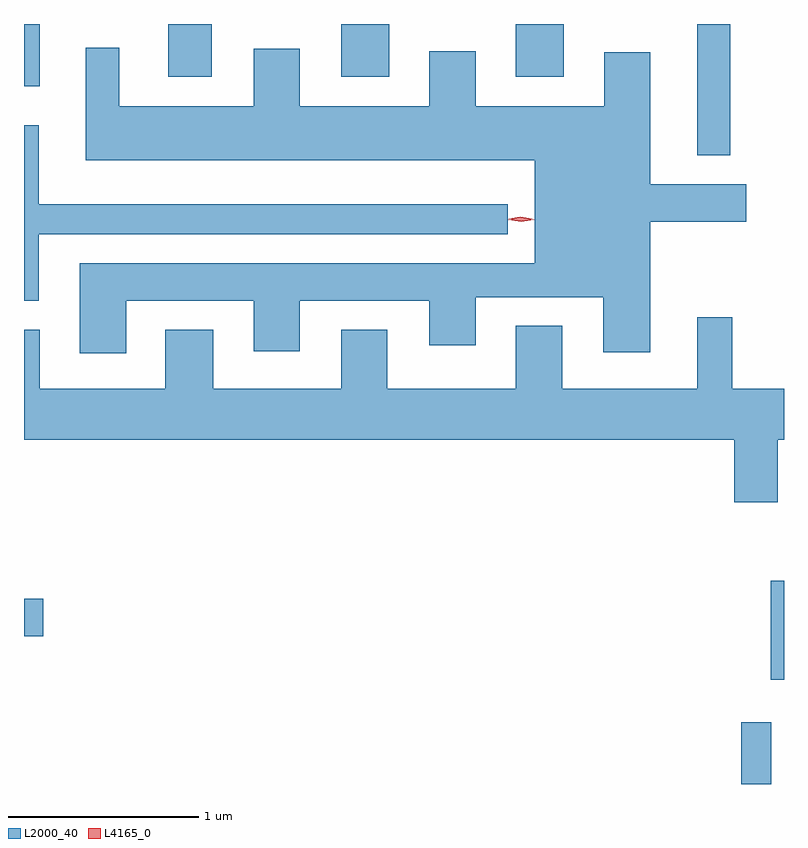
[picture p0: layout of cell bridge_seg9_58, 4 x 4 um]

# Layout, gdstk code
import gdstk
lib = gdstk.Library(unit=1e-6, precision=1e-09)
def R(c, l, rs):  # rectangles x0, y0, x1, y1
    for r in rs: c.add(gdstk.rectangle(r[:2], r[2:], *l))
def P(c, l, *ps):  # polygons
    for p in ps: c.add(gdstk.Polygon(p, *l))
L2000_40 = (2000, 40)
L4165_0 = (4165, 0)

bridge_seg9_58 = lib.new_cell('bridge_seg9_58')
R(bridge_seg9_58, L2000_40, [(1507.536,1981.123,1507.694,1981.448), (1507.691,1981.671,1507.762,1982.193), (1503.762,1981.901,1503.864,1982.099), (1507.306,1984.431,1507.479,1985.123), (1503.762,1984.796,1503.844,1985.123), (1504.521,1984.846,1504.749,1985.123), (1505.431,1984.846,1505.684,1985.123), (1506.351,1984.846,1506.604,1985.123)])
P(bridge_seg9_58, L2000_40, [(1504.299,1983.666),(1504.971,1983.666),(1504.971,1983.401),(1505.214,1983.401),(1505.214,1983.666),(1505.896,1983.666),(1505.896,1983.431),(1506.139,1983.431),(1506.139,1983.686),(1506.811,1983.686),(1506.811,1983.396),(1507.059,1983.396),(1507.059,1984.081),(1507.564,1984.081),(1507.564,1984.279),(1507.059,1984.279),(1507.059,1984.974),(1506.816,1984.974),(1506.816,1984.689),(1506.139,1984.689),(1506.139,1984.979),(1505.896,1984.979),(1505.896,1984.689),(1505.214,1984.689),(1505.214,1984.994),(1504.971,1984.994),(1504.971,1984.689),(1504.264,1984.689),(1504.264,1984.999),(1504.086,1984.999),(1504.086,1984.406),(1506.451,1984.406),(1506.451,1983.864),(1504.056,1983.864),(1504.056,1983.391),(1504.299,1983.391)],
  [(1503.839,1984.016),(1506.308,1984.016),(1506.308,1984.174),(1503.839,1984.174),(1503.839,1984.589),(1503.762,1984.589),(1503.762,1983.666),(1503.839,1983.666)],
  [(1507.729,1982.936),(1507.762,1982.936),(1507.762,1983.204),(1507.489,1983.204),(1507.489,1983.579),(1507.306,1983.579),(1507.306,1983.204),(1506.594,1983.204),(1506.594,1983.534),(1506.351,1983.534),(1506.351,1983.204),(1505.674,1983.204),(1505.674,1983.514),(1505.431,1983.514),(1505.431,1983.204),(1504.759,1983.204),(1504.759,1983.514),(1504.506,1983.514),(1504.506,1983.204),(1503.844,1983.204),(1503.844,1983.514),(1503.762,1983.514),(1503.762,1982.936),(1507.501,1982.936),(1507.501,1982.606),(1507.729,1982.606)])
P(bridge_seg9_58, L4165_0, [(1506.378,1984.082),(1506.31,1984.092),(1506.309,1984.092),(1506.31,1984.093),(1506.378,1984.102),(1506.447,1984.093),(1506.447,1984.092),(1506.447,1984.092)],
  [(1506.376,1984.088),(1506.313,1984.097),(1506.313,1984.098),(1506.313,1984.098),(1506.375,1984.108),(1506.437,1984.099),(1506.438,1984.098),(1506.437,1984.098)])

lib.write_gds('bridge_seg9_58.gds')
